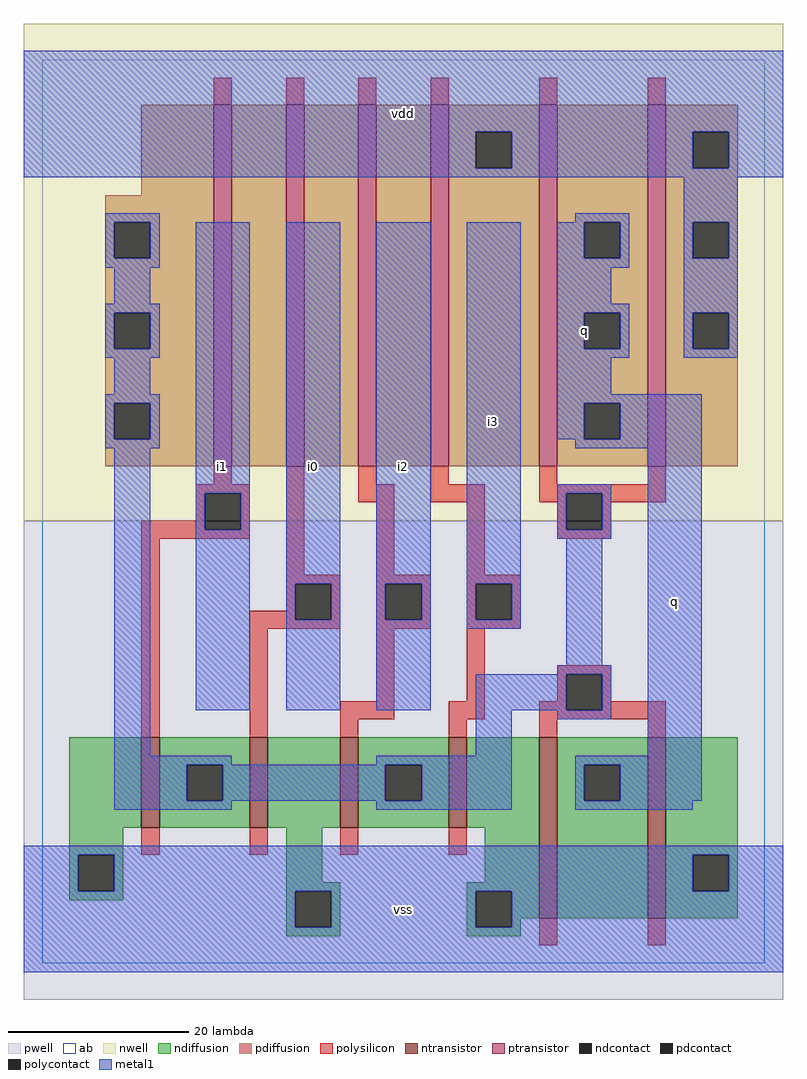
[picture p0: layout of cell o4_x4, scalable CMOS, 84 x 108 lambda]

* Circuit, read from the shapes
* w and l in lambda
.subckt o4_x4 i0 i1 i2 i3 q vdd vss
M1 n1 i1 vss VSUBS nfet w=10 l=2
M2 vss i0 n1 VSUBS nfet w=10 l=2
M3 n1 i2 vss VSUBS nfet w=10 l=2
M4 vss i3 n1 VSUBS nfet w=10 l=2
M5 q n1 vss VSUBS nfet w=20 l=2 m=2
M6 n2 i1 n1 n3 pfet w=40 l=2
M7 n4 i0 n2 n3 pfet w=40 l=2
M8 n5 i2 n4 n3 pfet w=40 l=2
M9 vdd i3 n5 n3 pfet w=40 l=2
M10 q n1 vdd n3 pfet w=40 l=2 m=2
.ends

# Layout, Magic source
magic
tech scmos
<< ab >>
rect 0 0 80 100
<< pwell >>
rect -2 -4 82 49
<< nwell >>
rect -2 49 82 104
<< polysilicon >>
rect 19 95 21 98
rect 27 95 29 98
rect 35 95 37 98
rect 43 95 45 98
rect 55 95 57 98
rect 67 95 69 98
rect 19 53 21 55
rect 17 52 23 53
rect 17 49 18 52
rect 11 48 18 49
rect 22 48 23 52
rect 11 47 23 48
rect 11 25 13 47
rect 27 43 29 55
rect 35 53 37 55
rect 43 53 45 55
rect 55 53 57 55
rect 67 53 69 55
rect 35 51 39 53
rect 43 51 49 53
rect 55 52 69 53
rect 55 51 58 52
rect 37 43 39 51
rect 47 43 49 51
rect 57 48 58 51
rect 62 51 69 52
rect 62 48 63 51
rect 57 47 63 48
rect 27 42 33 43
rect 27 39 28 42
rect 23 38 28 39
rect 32 38 33 42
rect 23 37 33 38
rect 37 42 43 43
rect 37 38 38 42
rect 42 38 43 42
rect 37 37 43 38
rect 47 42 53 43
rect 47 38 48 42
rect 52 38 53 42
rect 47 37 53 38
rect 23 25 25 37
rect 37 29 39 37
rect 47 29 49 37
rect 57 32 63 33
rect 57 29 58 32
rect 33 27 39 29
rect 45 27 49 29
rect 55 28 58 29
rect 62 29 63 32
rect 62 28 69 29
rect 55 27 69 28
rect 33 25 35 27
rect 45 25 47 27
rect 55 25 57 27
rect 67 25 69 27
rect 11 12 13 15
rect 23 12 25 15
rect 33 12 35 15
rect 45 12 47 15
rect 55 2 57 5
rect 67 2 69 5
<< ndiffusion >>
rect 3 15 11 25
rect 13 22 23 25
rect 13 18 16 22
rect 20 18 23 22
rect 13 15 23 18
rect 25 15 33 25
rect 35 22 45 25
rect 35 18 38 22
rect 42 18 45 22
rect 35 15 45 18
rect 47 15 55 25
rect 3 12 9 15
rect 3 8 4 12
rect 8 8 9 12
rect 3 7 9 8
rect 27 9 31 15
rect 49 9 55 15
rect 27 8 33 9
rect 27 4 28 8
rect 32 4 33 8
rect 27 3 33 4
rect 47 8 55 9
rect 47 4 48 8
rect 52 5 55 8
rect 57 22 67 25
rect 57 18 60 22
rect 64 18 67 22
rect 57 5 67 18
rect 69 12 77 25
rect 69 8 72 12
rect 76 8 77 12
rect 69 5 77 8
rect 52 4 53 5
rect 47 3 53 4
<< pdiffusion >>
rect 11 85 19 95
rect 7 82 19 85
rect 7 78 8 82
rect 12 78 19 82
rect 7 72 19 78
rect 7 68 8 72
rect 12 68 19 72
rect 7 62 19 68
rect 7 58 8 62
rect 12 58 19 62
rect 7 55 19 58
rect 21 55 27 95
rect 29 55 35 95
rect 37 55 43 95
rect 45 92 55 95
rect 45 88 48 92
rect 52 88 55 92
rect 45 55 55 88
rect 57 82 67 95
rect 57 78 60 82
rect 64 78 67 82
rect 57 72 67 78
rect 57 68 60 72
rect 64 68 67 72
rect 57 62 67 68
rect 57 58 60 62
rect 64 58 67 62
rect 57 55 67 58
rect 69 92 77 95
rect 69 88 72 92
rect 76 88 77 92
rect 69 82 77 88
rect 69 78 72 82
rect 76 78 77 82
rect 69 72 77 78
rect 69 68 72 72
rect 76 68 77 72
rect 69 55 77 68
<< metal1 >>
rect -2 92 82 101
rect -2 88 48 92
rect 52 88 72 92
rect 76 88 82 92
rect -2 87 82 88
rect 7 82 13 83
rect 59 82 65 83
rect 7 78 8 82
rect 12 78 13 82
rect 7 77 13 78
rect 8 73 12 77
rect 7 72 13 73
rect 7 68 8 72
rect 12 68 13 72
rect 7 67 13 68
rect 8 63 12 67
rect 7 62 13 63
rect 7 58 8 62
rect 12 58 13 62
rect 7 57 13 58
rect 8 23 12 57
rect 17 52 23 82
rect 17 48 18 52
rect 22 48 23 52
rect 17 28 23 48
rect 27 42 33 82
rect 27 38 28 42
rect 32 38 33 42
rect 27 28 33 38
rect 37 42 43 82
rect 37 38 38 42
rect 42 38 43 42
rect 37 28 43 38
rect 47 42 53 82
rect 57 78 60 82
rect 64 78 65 82
rect 57 77 65 78
rect 71 82 77 87
rect 71 78 72 82
rect 76 78 77 82
rect 57 73 63 77
rect 57 72 65 73
rect 57 68 60 72
rect 64 68 65 72
rect 57 67 65 68
rect 71 72 77 78
rect 71 68 72 72
rect 76 68 77 72
rect 71 67 77 68
rect 57 63 63 67
rect 57 62 73 63
rect 57 58 60 62
rect 64 58 73 62
rect 59 57 73 58
rect 57 52 63 53
rect 57 48 58 52
rect 62 48 63 52
rect 57 47 63 48
rect 47 38 48 42
rect 52 38 53 42
rect 47 37 53 38
rect 58 33 62 47
rect 57 32 63 33
rect 48 28 58 32
rect 62 28 63 32
rect 48 23 52 28
rect 57 27 63 28
rect 67 23 73 57
rect 8 22 21 23
rect 37 22 52 23
rect 8 18 16 22
rect 20 18 38 22
rect 42 18 52 22
rect 8 17 21 18
rect 37 17 52 18
rect 59 22 73 23
rect 59 18 60 22
rect 64 18 73 22
rect 59 17 72 18
rect -2 12 82 13
rect -2 8 4 12
rect 8 8 72 12
rect 76 8 82 12
rect -2 4 28 8
rect 32 4 48 8
rect 52 4 82 8
rect -2 -1 82 4
<< ntransistor >>
rect 11 15 13 25
rect 23 15 25 25
rect 33 15 35 25
rect 45 15 47 25
rect 55 5 57 25
rect 67 5 69 25
<< ptransistor >>
rect 19 55 21 95
rect 27 55 29 95
rect 35 55 37 95
rect 43 55 45 95
rect 55 55 57 95
rect 67 55 69 95
<< polycontact >>
rect 18 48 22 52
rect 58 48 62 52
rect 28 38 32 42
rect 38 38 42 42
rect 48 38 52 42
rect 58 28 62 32
<< ndcontact >>
rect 16 18 20 22
rect 38 18 42 22
rect 4 8 8 12
rect 28 4 32 8
rect 48 4 52 8
rect 60 18 64 22
rect 72 8 76 12
<< pdcontact >>
rect 8 78 12 82
rect 8 68 12 72
rect 8 58 12 62
rect 48 88 52 92
rect 60 78 64 82
rect 60 68 64 72
rect 60 58 64 62
rect 72 88 76 92
rect 72 78 76 82
rect 72 68 76 72
<< labels >>
rlabel metal1 20 55 20 55 6 i1
rlabel metal1 20 55 20 55 6 i1
rlabel metal1 30 55 30 55 6 i0
rlabel metal1 30 55 30 55 6 i0
rlabel metal1 40 6 40 6 6 vss
rlabel metal1 40 6 40 6 6 vss
rlabel metal1 40 55 40 55 6 i2
rlabel metal1 40 55 40 55 6 i2
rlabel metal1 60 70 60 70 6 q
rlabel metal1 50 60 50 60 6 i3
rlabel metal1 60 70 60 70 6 q
rlabel metal1 50 60 50 60 6 i3
rlabel metal1 40 94 40 94 6 vdd
rlabel metal1 40 94 40 94 6 vdd
rlabel metal1 70 40 70 40 6 q
rlabel metal1 70 40 70 40 6 q
<< end >>
